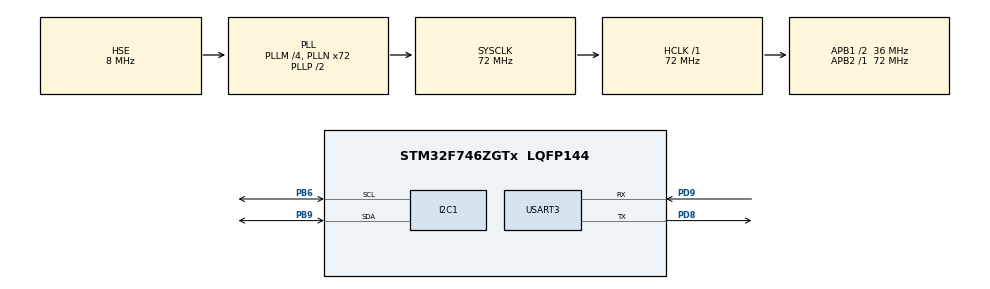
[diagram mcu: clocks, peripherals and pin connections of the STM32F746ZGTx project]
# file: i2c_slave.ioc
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I2C1.OwnAddress=0x12
I2C1.Timing=0x00808CD2
Mcu.Family=STM32F7
Mcu.Name=STM32F746ZGTx
Mcu.Package=LQFP144
NVIC.I2C1_ER_IRQn=true\:0\:0\:false\:false\:true\:true\:true\:true
NVIC.I2C1_EV_IRQn=true\:0\:0\:false\:false\:true\:true\:true\:true
NVIC.PriorityGroup=NVIC_PRIORITYGROUP_4
PB6.Mode=I2C
PB6.Signal=I2C1_SCL
PB9.Mode=I2C
PB9.Signal=I2C1_SDA
PD8.GPIO_PuPd=GPIO_PULLUP
PD8.Mode=Asynchronous
PD8.Signal=USART3_TX
PD9.GPIO_PuPd=GPIO_PULLUP
PD9.Mode=Asynchronous
PD9.Signal=USART3_RX
PH0/OSC_IN.Mode=HSE-External-Clock-Source
PH0/OSC_IN.Signal=RCC_OSC_IN
PH1/OSC_OUT.Mode=HSE-External-Clock-Source
PH1/OSC_OUT.Signal=RCC_OSC_OUT
ProjectManager.HeapSize=0x200
ProjectManager.StackSize=0x400
ProjectManager.TargetToolchain=STM32CubeIDE
RCC.48MHZClocksFreq_Value=24000000
RCC.AHBFreq_Value=72000000
RCC.APB1CLKDivider=RCC_HCLK_DIV2
RCC.APB1Freq_Value=36000000
RCC.APB1TimFreq_Value=72000000
RCC.APB2Freq_Value=72000000
RCC.APB2TimFreq_Value=72000000
RCC.CortexFreq_Value=72000000
RCC.HCLKFreq_Value=72000000
RCC.HSE_VALUE=8000000
RCC.HSI_VALUE=16000000
RCC.LSE_VALUE=32768
RCC.PLLM=4
RCC.PLLMUL=RCC_PLL_MUL9
RCC.PLLN=72
RCC.PLLQ=3
RCC.PLLSourceVirtual=RCC_PLLSOURCE_HSE
RCC.PRESCALERUSB=RCC_USBCLKSOURCE_PLL_DIV1_5
RCC.SYSCLKFreq_VALUE=72000000
RCC.SYSCLKSource=RCC_SYSCLKSOURCE_PLLCLK
RCC.SYSCLKSourceVirtual=RCC_SYSCLKSOURCE_PLLCLK
RCC.USBFreq_Value=48000000
RCC.VCOOutputFreq_Value=144000000
USART3.VirtualMode-Asynchronous=VM_ASYNC
board=NUCLEO-F746ZG

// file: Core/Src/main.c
/* USER CODE BEGIN Header */
/**
  ******************************************************************************
  * @file           : main.c
  * @brief          : Main program body
  ******************************************************************************
  * @attention
  *
  * Copyright (c) 2024 STMicroelectronics.
  * All rights reserved.
  *
  * This software is licensed under terms that can be found in the LICENSE file
  * in the root directory of this software component.
  * If no LICENSE file comes with this software, it is provided AS-IS.
  *
  ******************************************************************************
  */
/* USER CODE END Header */
#include "main.h"

/* USER CODE BEGIN Includes */
#include "stdio.h"
#include "i2c_slave.h"
/* USER CODE END Includes */

I2C_HandleTypeDef hi2c1;

UART_HandleTypeDef huart3;

/* USER CODE BEGIN PV */
#ifdef __GNUC__
#define PUTCHAR_PROTOTYPE int __io_putchar(int ch)
#else
#define PUTCHAR_PROTOTYPE int fputc(int ch, FILE *f)
#endif /* __GNUC__ */
PUTCHAR_PROTOTYPE
{
	HAL_UART_Transmit(&huart3, (uint8_t *)&ch, 1, HAL_MAX_DELAY); // Исправлено имя структуры UART
	return ch;
}
/* USER CODE END PV */

void SystemClock_Config(void);
static void MX_GPIO_Init(void);
static void MX_I2C1_Init(void);
static void MX_USART3_UART_Init(void);

int main(void)
{

  /* MCU Configuration--------------------------------------------------------*/

  /* Reset of all peripherals, Initializes the Flash interface and the Systick. */
  HAL_Init();

  /* Configure the system clock */
  SystemClock_Config();

  /* Initialize all configured peripherals */
  MX_GPIO_Init();
  MX_I2C1_Init();
  MX_USART3_UART_Init();
  /* USER CODE BEGIN 2 */

  uint16_t slaveADDR = 0x12<<1;
  uint8_t TxData[6] = {0x1, 0x2, 0x3, 0x4, 0x5, 0x6};
  uint8_t RxData[6];///////////////////////////////////////////////////////////////////////////////

  I2C_Slave_Init();

  /* USER CODE END 2 */

  /* Infinite loop */
  while (1)
  {

    /* USER CODE BEGIN 3 */
//	  HAL_I2C_Master_Transmit(&hi2c1, slaveADDR, TxData, 6, 1000);
//	  HAL_Delay (1000);
//	  printf("%hhn\r\n", TxData);
//	  printf("%0x\r\n", slaveADDR);
//	  printf("%p\r\n", &hi2c1);

	  ////////////////////////////////////////////////////////////////////////////////////////////////////
	  HAL_I2C_Master_Transmit(&hi2c1, slaveADDR, TxData, 6, 1000);
	  HAL_I2C_Master_Receive(&hi2c1, slaveADDR, RxData, 6, 1000);
	  HAL_Delay(1000);

	    printf("Transmitted Data: ");
	    for (int i = 0; i < 6; i++) {
	      printf("%02X ", TxData[i]);
	    }
	    printf("\r\n");

	    printf("Received Data: ");
	    for (int i = 0; i < 6; i++) {
	      printf("%02X ", RxData[i]);
	    }
//
//	    Transmitted Data: 01 02 03 04 05 06
//	    Received Data: E0 63 00 08 00 00
//	    Transmitted Data: 01 02 03 04 05 06
//	    Received Data: E0 63 00 08 00 00
//	    Transmitted Data: 01 02 03 04 05 06
//	    Received Data: E0 63 00 08 00 00
//	    Transmitted Data: 01 02 03 04 05 06
//	    Received Data: E0 63 00 08 00 00
//	    Transmitted Data: 01 02 03 04 05 06
//	    Received Data: E0 63 00 08 00 00
//	    Transmitted Data: 01 02 03 04 05 06
//	    Received Data: E0 63 00 08 00 00
//	    Transmitted Data: 01 02 03 04 05 06
//	    Received Data: E0 63 00 08 00 00
//	    Transmitted Data: 01 02 03 04 05 06
//	    Received Data: E0 63 00 08 00 00
//	    Transmitted Data: 01 02 03 04 05 06
//	    Received Data: E0 63 00 08 00 00
//	    Transmitted Data: 01 02 03 04 05 06
//	    Received Data: E0 63 00 08 00 00
//	    Transmitted Data: 01 02 03 04 05 06
//	    Received Data: E0 63 00 08 00 00
//	    Transmitted Data: 01 02 03 04 05 06
//	    Received Data: E0 63 00 08 00 00
//	    Transmitted Data: 01 02 03 04 05 06
//	    Received Data: E0 63 00 08 00 00

	    printf("\r\n");
	  ////////////////////////////////////////////////////////////////////////////////////////////////////

  }
  /* USER CODE END 3 */
}

void SystemClock_Config(void)
{
  RCC_OscInitTypeDef RCC_OscInitStruct = {0};
  RCC_ClkInitTypeDef RCC_ClkInitStruct = {0};

  /** Configure the main internal regulator output voltage
  */
  __HAL_RCC_PWR_CLK_ENABLE();
  __HAL_PWR_VOLTAGESCALING_CONFIG(PWR_REGULATOR_VOLTAGE_SCALE3);

  /** Initializes the RCC Oscillators according to the specified parameters
  * in the RCC_OscInitTypeDef structure.
  */
  RCC_OscInitStruct.OscillatorType = RCC_OSCILLATORTYPE_HSE;
  RCC_OscInitStruct.HSEState = RCC_HSE_BYPASS;
  RCC_OscInitStruct.PLL.PLLState = RCC_PLL_ON;
  RCC_OscInitStruct.PLL.PLLSource = RCC_PLLSOURCE_HSE;
  RCC_OscInitStruct.PLL.PLLM = 4;
  RCC_OscInitStruct.PLL.PLLN = 72;
  RCC_OscInitStruct.PLL.PLLP = RCC_PLLP_DIV2;
  RCC_OscInitStruct.PLL.PLLQ = 3;
  if (HAL_RCC_OscConfig(&RCC_OscInitStruct) != HAL_OK)
  {
    Error_Handler();
  }

  /** Initializes the CPU, AHB and APB buses clocks
  */
  RCC_ClkInitStruct.ClockType = RCC_CLOCKTYPE_HCLK|RCC_CLOCKTYPE_SYSCLK
                              |RCC_CLOCKTYPE_PCLK1|RCC_CLOCKTYPE_PCLK2;
  RCC_ClkInitStruct.SYSCLKSource = RCC_SYSCLKSOURCE_PLLCLK;
  RCC_ClkInitStruct.AHBCLKDivider = RCC_SYSCLK_DIV1;
  RCC_ClkInitStruct.APB1CLKDivider = RCC_HCLK_DIV2;
  RCC_ClkInitStruct.APB2CLKDivider = RCC_HCLK_DIV1;

  if (HAL_RCC_ClockConfig(&RCC_ClkInitStruct, FLASH_LATENCY_2) != HAL_OK)
  {
    Error_Handler();
  }
}

static void MX_I2C1_Init(void)
{

  hi2c1.Instance = I2C1;
  hi2c1.Init.Timing = 0x00808CD2;
  hi2c1.Init.OwnAddress1 = 36;
  hi2c1.Init.AddressingMode = I2C_ADDRESSINGMODE_7BIT;
  hi2c1.Init.DualAddressMode = I2C_DUALADDRESS_DISABLE;
  hi2c1.Init.OwnAddress2 = 0;
  hi2c1.Init.OwnAddress2Masks = I2C_OA2_NOMASK;
  hi2c1.Init.GeneralCallMode = I2C_GENERALCALL_DISABLE;
  hi2c1.Init.NoStretchMode = I2C_NOSTRETCH_DISABLE;
  if (HAL_I2C_Init(&hi2c1) != HAL_OK)
  {
    Error_Handler();
  }

  /** Configure Analogue filter
  */
  if (HAL_I2CEx_ConfigAnalogFilter(&hi2c1, I2C_ANALOGFILTER_ENABLE) != HAL_OK)
  {
    Error_Handler();
  }

  /** Configure Digital filter
  */
  if (HAL_I2CEx_ConfigDigitalFilter(&hi2c1, 0) != HAL_OK)
  {
    Error_Handler();
  }

}

static void MX_USART3_UART_Init(void)
{

  huart3.Instance = USART3;
  huart3.Init.BaudRate = 115200;
  huart3.Init.WordLength = UART_WORDLENGTH_8B;
  huart3.Init.StopBits = UART_STOPBITS_1;
  huart3.Init.Parity = UART_PARITY_NONE;
  huart3.Init.Mode = UART_MODE_TX_RX;
  huart3.Init.HwFlowCtl = UART_HWCONTROL_NONE;
  huart3.Init.OverSampling = UART_OVERSAMPLING_16;
  huart3.Init.OneBitSampling = UART_ONE_BIT_SAMPLE_DISABLE;
  huart3.AdvancedInit.AdvFeatureInit = UART_ADVFEATURE_NO_INIT;
  if (HAL_UART_Init(&huart3) != HAL_OK)
  {
    Error_Handler();
  }

}

static void MX_GPIO_Init(void)
{

  /* GPIO Ports Clock Enable */
  __HAL_RCC_GPIOH_CLK_ENABLE();
  __HAL_RCC_GPIOD_CLK_ENABLE();
  __HAL_RCC_GPIOB_CLK_ENABLE();

}

void Error_Handler(void)
{
  __disable_irq();
  while (1)
  {
  }
}
